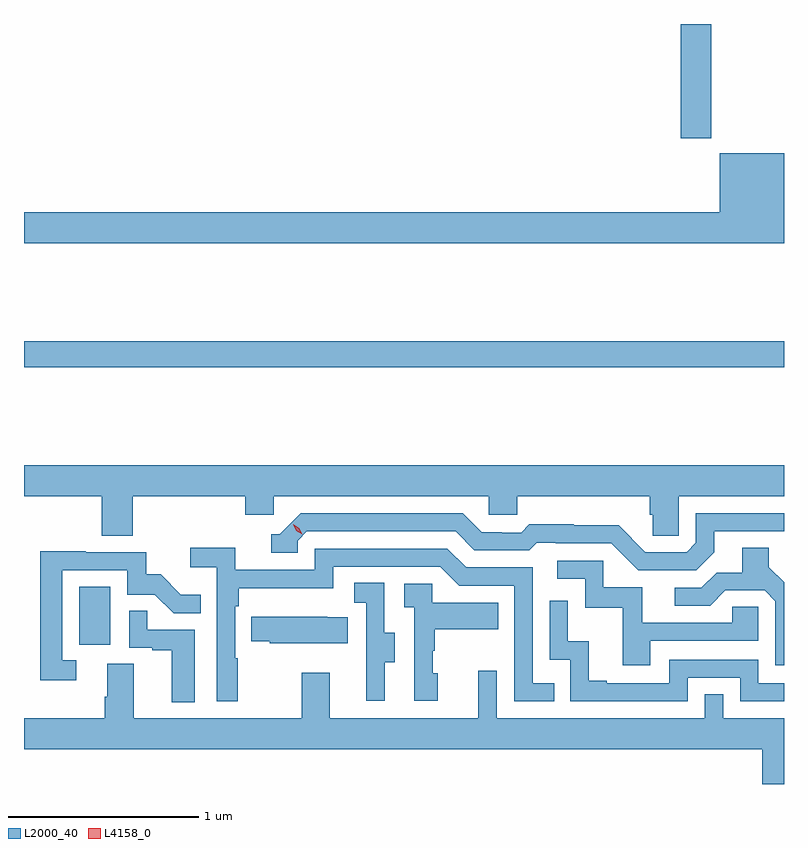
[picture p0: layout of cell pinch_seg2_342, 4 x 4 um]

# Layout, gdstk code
import gdstk
lib = gdstk.Library(unit=1e-6, precision=1e-09)
def R(c, l, rs):  # rectangles x0, y0, x1, y1
    for r in rs: c.add(gdstk.rectangle(r[:2], r[2:], *l))
def P(c, l, *ps):  # polygons
    for p in ps: c.add(gdstk.Polygon(p, *l))
L2000_40 = (2000, 40)
L4158_0 = (4158, 0)

pinch_seg2_342 = lib.new_cell('pinch_seg2_342')
R(pinch_seg2_342, L2000_40, [(1008.698,630.87,1008.862,631.177), (1008.407,632.332,1012.407,632.468), (1011.863,633.537,1012.023,634.138)])
P(pinch_seg2_342, L2000_40, [(1012.407,633.457),(1012.07,633.457),(1012.07,633.148),(1008.407,633.148),(1008.407,632.984),(1012.407,632.984)],
  [(1008.98,631.652),(1009.571,631.652),(1009.571,631.554),(1009.722,631.554),(1009.722,631.652),(1010.853,631.652),(1010.853,631.554),(1011.003,631.554),(1011.003,631.652),(1011.701,631.652),(1011.701,631.554),(1011.715,631.554),(1011.715,631.444),(1011.852,631.444),(1011.852,631.652),(1012.407,631.652),(1012.407,631.816),(1008.407,631.816),(1008.407,631.652),(1008.815,631.652),(1008.815,631.444),(1008.98,631.444)],
  [(1012.039,631.357),(1012.039,631.467),(1012.407,631.467),(1012.407,631.563),(1011.942,631.563),(1011.942,631.407),(1011.894,631.359),(1011.678,631.359),(1011.536,631.501),(1011.3,631.501),(1011.3,631.504),(1011.067,631.504),(1011.025,631.461),(1010.922,631.461),(1010.922,631.464),(1010.815,631.464),(1010.716,631.563),(1009.863,631.563),(1009.752,631.452),(1009.709,631.452),(1009.709,631.356),(1009.848,631.356),(1009.848,631.419),(1009.896,631.467),(1010.679,631.467),(1010.778,631.368),(1011.067,631.368),(1011.106,631.407),(1011.205,631.407),(1011.205,631.404),(1011.498,631.404),(1011.639,631.263),(1011.945,631.263)],
  [(1012.407,631.2),(1012.327,631.28),(1012.327,631.382),(1012.187,631.382),(1012.187,631.25),(1012.052,631.25),(1011.972,631.17),(1011.831,631.17),(1011.831,631.077),(1012.018,631.077),(1012.099,631.158),(1012.305,631.158),(1012.362,631.101),(1012.362,630.762),(1012.407,630.762)],
  [(1009.531,630.8),(1009.518,630.8),(1009.518,631.073),(1009.538,631.073),(1009.538,631.169),(1010.034,631.169),(1010.034,631.281),(1010.598,631.281),(1010.697,631.182),(1010.988,631.182),(1010.988,630.573),(1011.197,630.573),(1011.197,630.669),(1011.084,630.669),(1011.084,631.278),(1010.734,631.278),(1010.635,631.377),(1009.938,631.377),(1009.938,631.266),(1009.52,631.266),(1009.52,631.382),(1009.281,631.382),(1009.281,631.28),(1009.422,631.28),(1009.422,630.573),(1009.531,630.573)],
  [(1008.682,630.789),(1008.609,630.789),(1008.609,631.263),(1008.951,631.263),(1008.951,631.134),(1009.096,631.134),(1009.194,631.036),(1009.337,631.036),(1009.337,631.135),(1009.233,631.135),(1009.126,631.242),(1009.05,631.242),(1009.05,631.359),(1008.731,631.359),(1008.731,631.364),(1008.493,631.364),(1008.493,630.684),(1008.682,630.684)],
  [(1011.703,630.891),(1012.272,630.891),(1012.272,631.071),(1012.135,631.071),(1012.135,630.987),(1011.661,630.987),(1011.661,631.173),(1011.456,631.173),(1011.456,631.314),(1011.213,631.314),(1011.213,631.218),(1011.36,631.218),(1011.36,631.065),(1011.559,631.065),(1011.559,630.762),(1011.703,630.762)],
  [(1010.305,630.778),(1010.359,630.778),(1010.359,630.933),(1010.304,630.933),(1010.304,631.196),(1010.145,631.196),(1010.145,631.093),(1010.208,631.093),(1010.208,630.789),(1010.207,630.789),(1010.207,630.576),(1010.305,630.576)],
  [(1010.584,630.72),(1010.559,630.72),(1010.559,630.839),(1010.569,630.839),(1010.569,630.953),(1010.903,630.953),(1010.903,631.093),(1010.556,631.093),(1010.556,631.191),(1010.409,631.191),(1010.409,631.067),(1010.46,631.067),(1010.46,630.576),(1010.584,630.576)],
  [(1011.9,630.696),(1012.176,630.696),(1012.176,630.573),(1012.407,630.573),(1012.407,630.669),(1012.272,630.669),(1012.272,630.792),(1011.804,630.792),(1011.804,630.669),(1011.475,630.669),(1011.475,630.682),(1011.38,630.682),(1011.38,630.89),(1011.27,630.89),(1011.27,631.102),(1011.174,631.102),(1011.174,630.792),(1011.282,630.792),(1011.282,630.573),(1011.9,630.573)],
  [(1009.306,630.951),(1009.055,630.951),(1009.055,631.049),(1008.96,631.049),(1008.96,630.855),(1009.081,630.855),(1009.081,630.843),(1009.184,630.843),(1009.184,630.569),(1009.306,630.569)],
  [(1010.111,631.015),(1010.003,631.015),(1010.003,631.018),(1009.603,631.018),(1009.603,630.889),(1009.701,630.889),(1009.701,630.878),(1010.111,630.878)],
  [(1012.407,630.484),(1012.086,630.484),(1012.086,630.611),(1011.99,630.611),(1011.99,630.484),(1010.895,630.484),(1010.895,630.733),(1010.798,630.733),(1010.798,630.484),(1010.017,630.484),(1010.017,630.724),(1009.87,630.724),(1009.87,630.484),(1008.985,630.484),(1008.985,630.77),(1008.845,630.77),(1008.845,630.596),(1008.833,630.596),(1008.833,630.484),(1008.407,630.484),(1008.407,630.32),(1012.292,630.32),(1012.292,630.138),(1012.407,630.138)])
P(pinch_seg2_342, L4158_0, [(1009.871,631.453),(1009.841,631.472),(1009.824,631.504),(1009.824,631.505),(1009.825,631.505),(1009.855,631.485),(1009.872,631.453),(1009.872,631.453)])

lib.write_gds('pinch_seg2_342.gds')
